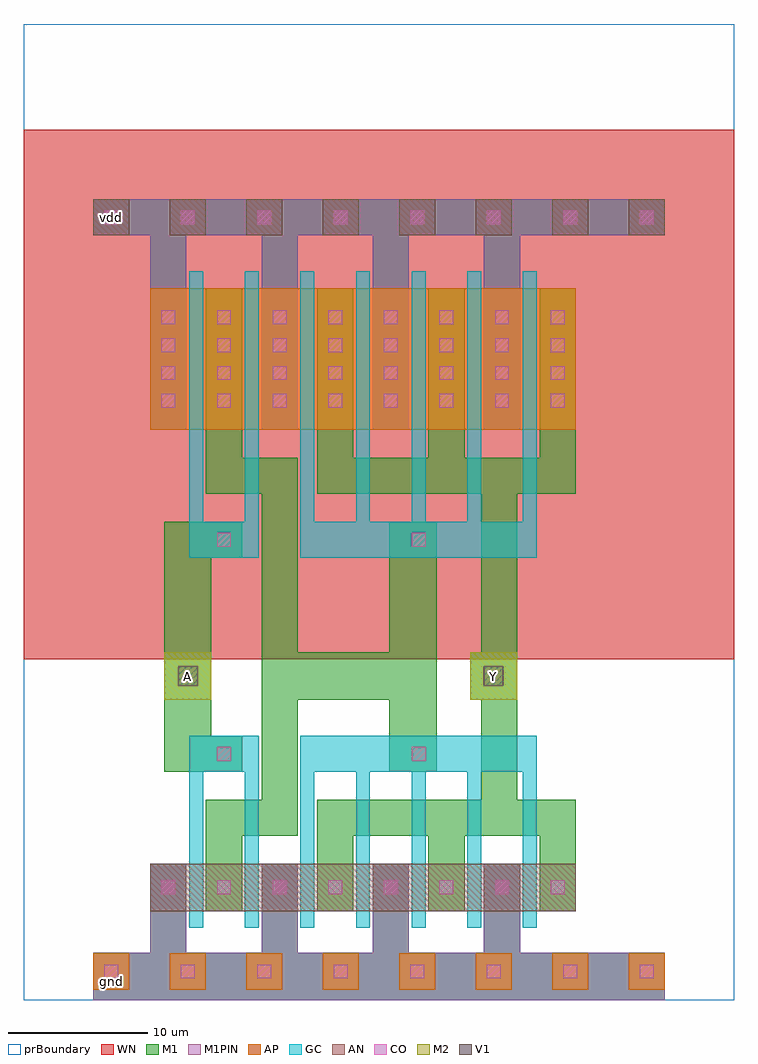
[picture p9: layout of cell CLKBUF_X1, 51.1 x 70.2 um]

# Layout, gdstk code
import gdstk
lib = gdstk.Library(unit=1e-6, precision=1e-09)
def R(c, l, rs):  # rectangles x0, y0, x1, y1
    for r in rs: c.add(gdstk.rectangle(r[:2], r[2:], *l))
def A(c, l, x, y, w, h, nx, ny, dx, dy):  # array of equal rectangles
    R(c, l, [(x+i*dx, y+j*dy, x+i*dx+w, y+j*dy+h) for i in range(nx) for j in range(ny)])
def P(c, l, *ps):  # polygons
    for p in ps: c.add(gdstk.Polygon(p, *l))
AP = (3, 1)
AN = (3, 2)
GC = (8, 1)
CO = (11, 0)
M1 = (13, 0)
V1 = (19, 0)
M2 = (20, 0)
M1PIN = (48, 1)
WN = (140, 0)
prBoundary = (235, 4)

clkbuf_x1 = lib.new_cell('CLKBUF_X1')
A(clkbuf_x1, AP, 5, 0.75, 2.6, 2.6, 8, 1, 5.5, 0)
R(clkbuf_x1, AP, [(9.1,41,39.7,51.2)])
A(clkbuf_x1, AN, 5, 55, 2.6, 2.6, 8, 1, 5.5, 0)
R(clkbuf_x1, AN, [(9.1,6.4,39.7,9.8)])
P(clkbuf_x1, GC, [(11.9,5.2),(11.9,19),(16.9,19),(16.9,5.2),(15.9,5.2),(15.9,16.4),(12.9,16.4),(12.9,5.2)],
  [(19.9,5.2),(19.9,19),(36.9,19),(36.9,5.2),(35.9,5.2),(35.9,16.4),(32.9,16.4),(32.9,5.2),(31.9,5.2),(31.9,16.4),(28.9,16.4),(28.9,5.2),(27.9,5.2),(27.9,16.4),(24.9,16.4),(24.9,5.2),(23.9,5.2),(23.9,16.4),(20.9,16.4),(20.9,5.2)],
  [(11.9,31.8),(11.9,52.4),(12.9,52.4),(12.9,34.4),(15.9,34.4),(15.9,52.4),(16.9,52.4),(16.9,31.8)],
  [(19.9,31.8),(19.9,52.4),(20.9,52.4),(20.9,34.4),(23.9,34.4),(23.9,52.4),(24.9,52.4),(24.9,34.4),(27.9,34.4),(27.9,52.4),(28.9,52.4),(28.9,34.4),(31.9,34.4),(31.9,52.4),(32.9,52.4),(32.9,34.4),(35.9,34.4),(35.9,52.4),(36.9,52.4),(36.9,31.8)])
A(clkbuf_x1, CO, 5.8, 1.55, 1, 1, 8, 2, 5.5, 54.25)
A(clkbuf_x1, CO, 9.9, 7.6, 1, 1, 3, 2, 4, 35)
A(clkbuf_x1, CO, 17.9, 7.6, 1, 1, 6, 2, 4, 35)
A(clkbuf_x1, CO, 9.9, 44.6, 1, 1, 3, 3, 4, 2)
A(clkbuf_x1, CO, 17.9, 44.6, 1, 1, 6, 3, 4, 2)
R(clkbuf_x1, CO, [(13.9,17.2,14.9,18.2), (27.9,17.2,28.9,18.2), (27.9,17.2,28.9,18.2), (13.9,32.6,14.9,33.6), (27.9,32.6,28.9,33.6)])
A(clkbuf_x1, M1, 11.7, 2.6, 5.4, 0.8, 3, 1, 8, 0)
R(clkbuf_x1, M1, [(5,2.6,9.1,3.4), (35.7,2.6,46.1,3.4)])
P(clkbuf_x1, M1, [(5,0),(5,2.6),(9.1,2.6),(9.1,9.8),(11.7,9.8),(11.7,2.6),(17.1,2.6),(17.1,9.8),(19.7,9.8),(19.7,2.6),(25.1,2.6),(25.1,9.8),(27.7,9.8),(27.7,2.6),(33.1,2.6),(33.1,9.8),(35.7,9.8),(35.7,2.6),(46.1,2.6),(46.1,0)],
  [(10.1,16.4),(10.1,34.4),(15.7,34.4),(15.7,31.8),(13.5,31.8),(13.5,19),(15.7,19),(15.7,16.4)],
  [(13.1,6.4),(13.1,14.4),(17.1,14.4),(17.1,36.4),(13.1,36.4),(13.1,51.2),(15.7,51.2),(15.7,39),(19.7,39),(19.7,25),(26.3,25),(26.3,34.4),(29.7,34.4),(29.7,16.4),(26.3,16.4),(26.3,21.6),(19.7,21.6),(19.7,11.8),(15.7,11.8),(15.7,6.4)],
  [(21.1,6.4),(21.1,14.4),(32.9,14.4),(32.9,21.6),(32.1,21.6),(32.1,25),(32.9,25),(32.9,36.4),(21.1,36.4),(21.1,51.2),(23.7,51.2),(23.7,39),(29.1,39),(29.1,51.2),(31.7,51.2),(31.7,39),(37.1,39),(37.1,51.2),(39.7,51.2),(39.7,36.4),(35.5,36.4),(35.5,14.4),(39.7,14.4),(39.7,6.4),(37.1,6.4),(37.1,11.8),(31.7,11.8),(31.7,6.4),(29.1,6.4),(29.1,11.8),(23.7,11.8),(23.7,6.4)],
  [(9.1,41),(9.1,55),(5,55),(5,57.6),(46.1,57.6),(46.1,55),(35.7,55),(35.7,41),(33.1,41),(33.1,55),(27.7,55),(27.7,41),(25.1,41),(25.1,55),(19.7,55),(19.7,41),(17.1,41),(17.1,55),(11.7,55),(11.7,41)])
R(clkbuf_x1, V1, [(11.1,22.6,12.5,24), (33.1,22.6,34.5,24)])
R(clkbuf_x1, M2, [(10.1,21.6,13.5,25), (32.1,21.6,35.5,25)])
A(clkbuf_x1, M1PIN, 9.1, 3.4, 2.6, 6.4, 4, 1, 8, 0)
A(clkbuf_x1, M1PIN, 9.1, 41, 2.6, 14, 4, 1, 8, 0)
R(clkbuf_x1, M1PIN, [(5,0,46.1,3.4), (5,55,46.1,57.6)])
R(clkbuf_x1, WN, [(0,24.5,51.1,62.6)])
R(clkbuf_x1, prBoundary, [(0,0,51.1,70.2)])
clkbuf_x1.add(gdstk.Label('A', (11.8,23.3), layer=49, texttype=0))
clkbuf_x1.add(gdstk.Label('Y', (33.8,23.3), layer=49, texttype=0))
clkbuf_x1.add(gdstk.Label('vdd', (6.3,56.3), layer=48, texttype=0))
clkbuf_x1.add(gdstk.Label('A', (11.8,23.3), layer=48, texttype=0))
clkbuf_x1.add(gdstk.Label('gnd', (6.3,1.3), layer=48, texttype=0))
clkbuf_x1.add(gdstk.Label('Y', (33.8,23.3), layer=48, texttype=0))

lib.write_gds('CLKBUF_X1.gds')
